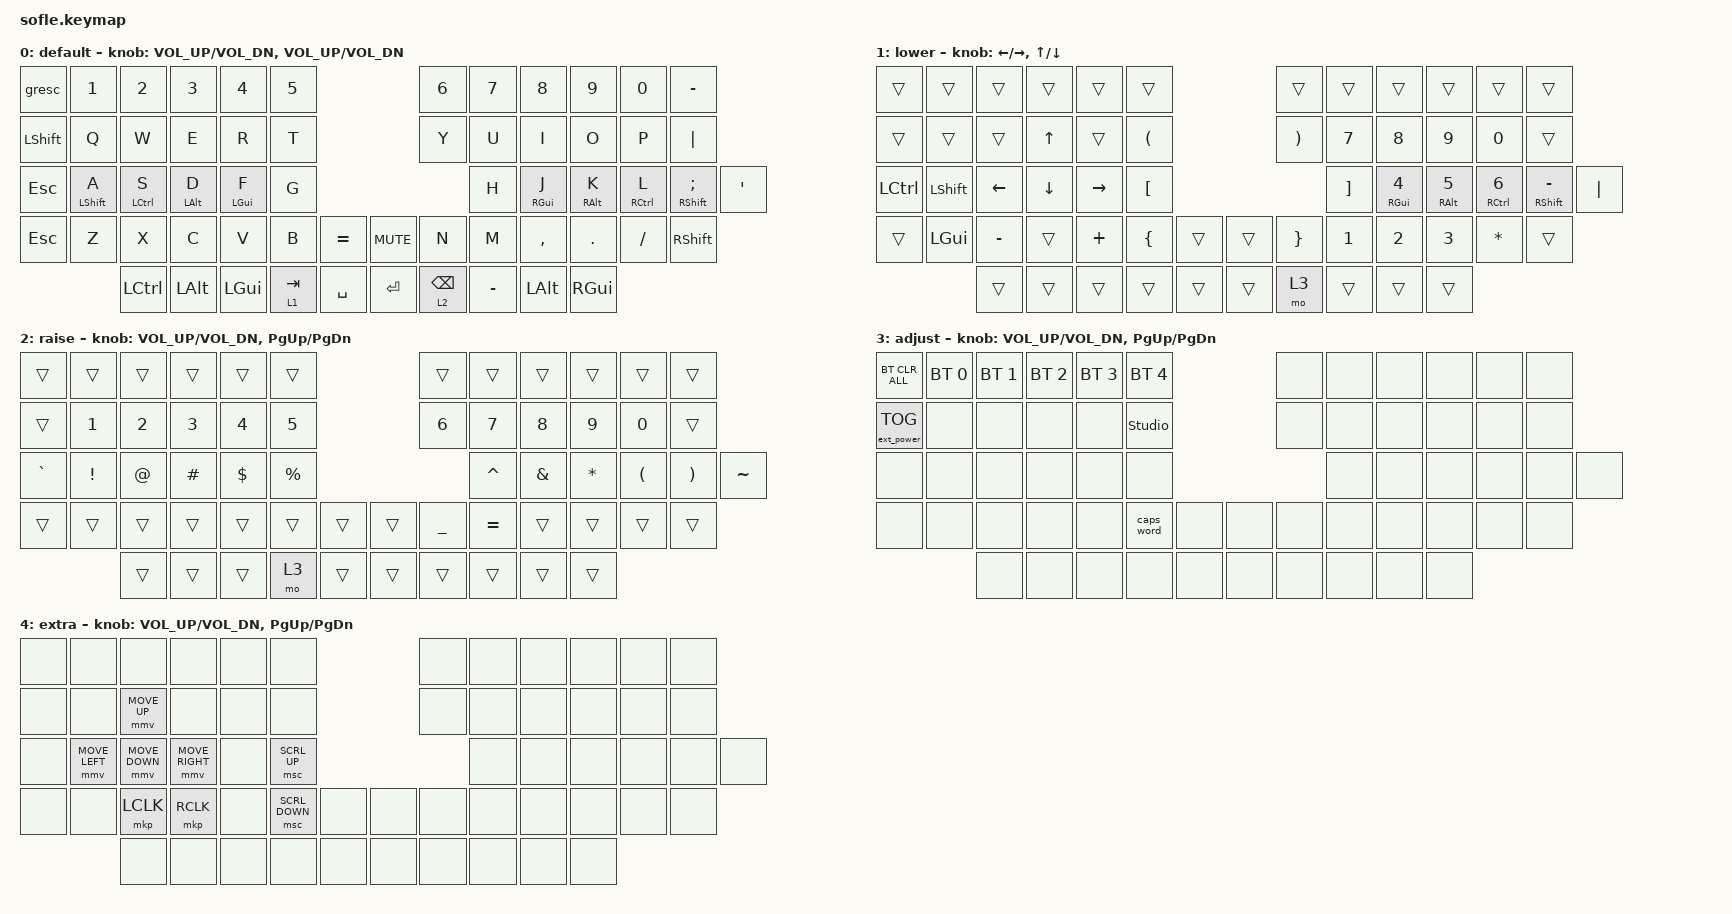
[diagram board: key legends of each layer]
/*
 * Copyright (c) 2020 The ZMK Contributors
 *
 * SPDX-License-Identifier: MIT
 */

#include <behaviors.dtsi>
#include <dt-bindings/zmk/bt.h>
#include <dt-bindings/zmk/ext_power.h>
#include <dt-bindings/zmk/keys.h>
#include <dt-bindings/zmk/pointing.h>

/*
// Encoders

&sensors { triggers-per-rotation = <30>; };

&left_encoder { steps = <60>; };

&right_encoder { steps = <60>; };
*/

#define BASE 0
#define LOWER 1
#define RAISE 2
#define ADJUST 3
#define EXTRA 4

/ {
    behaviors {
        hml: homerow_mods_left {
            compatible = "zmk,behavior-hold-tap";
            #binding-cells = <2>;
            tapping-term-ms = <220>;
            quick-tap-ms = <175>;
            require-prior-idle-ms = <80>;
            flavor = "balanced";
            bindings = <&kp>, <&kp>;
            hold-trigger-key-positions = <6 7 8 9 10 11 18 19 20 21 22 23 30 31 32 33 34 35 43 44 45 46 47 48 49 55 56 57 58 59>;
            hold-trigger-on-release;
        };

        hmr: homerow_mods_right {
            compatible = "zmk,behavior-hold-tap";
            #binding-cells = <2>;
            tapping-term-ms = <220>;
            quick-tap-ms = <175>;
            require-prior-idle-ms = <80>;
            flavor = "balanced";
            bindings = <&kp>, <&kp>;
            hold-trigger-key-positions = <0 1 2 3 4 5 12 13 14 15 16 17 24 25 26 27 28 29 36 37 38 39 40 41 42 50 51 52 53 54>;
            hold-trigger-on-release;
        };
    };

    combos {
        compatible = "zmk,combos";

        backspace {
            bindings = <&kp BACKSPACE>;
            key-positions = <32 31>;
        };

        delete {
            bindings = <&kp DELETE>;
            key-positions = <27 33>;
        };

        esc {
            bindings = <&kp ESCAPE>;
            key-positions = <25 41>;
        };
    };

    keymap {
        compatible = "zmk,keymap";

        // swap C_MUTE & EQUAL for encoder on the right

        default_layer {
            display-name = "default";

            // ------------------------------------------------------------------------------------------------------------
            // |   `   |  1  |  2  |  3   |  4   |  5   |                   |  6   |  7    |  8    |  9   |   0   |       |
            // |  ESC  |  Q  |  W  |  E   |  R   |  T   |                   |  Y   |  U    |  I    |  O   |   P   | BKSPC |
            // |  TAB  |  A  |  S  |  D   |  F   |  G   |                   |  H   |  J    |  K    |  L   |   ;   |   '   |
            // | SHIFT |  Z  |  X  |  C   |  V   |  B   |  MUTE  |  |       |  N   |  M    |  ,    |  .   |   /   | SHIFT |
            //               | GUI | ALT  | CTRL | LOWER|  ENTER |  | SPACE | RAISE| CTRL  | ALT   | GUI  |

            bindings = <
&gresc          &kp N1       &kp N2       &kp N3      &kp N4      &kp N5                              &kp N6           &kp N7      &kp N8      &kp N9       &kp N0          &kp MINUS
&kp LEFT_SHIFT  &kp Q        &kp W        &kp E       &kp R       &kp T                               &kp Y            &kp U       &kp I       &kp O        &kp P           &kp PIPE
&kp ESCAPE      &hml LSHFT A  &hml LCTRL S  &hml LALT D  &hml LGUI F  &kp G                               &kp H            &hmr RGUI J  &hmr RALT K  &hmr RCTRL L  &hmr RSHFT SEMI  &kp SQT
&kp ESCAPE      &kp Z        &kp X        &kp C       &kp V       &kp B      &kp EQUAL    &kp C_MUTE  &kp N            &kp M       &kp COMMA   &kp DOT      &kp FSLH        &kp RSHFT
                             &kp LCTRL    &kp LALT    &kp LGUI    &lt 1 TAB  &kp SPACE    &kp ENTER   &lt 2 BACKSPACE  &kp MINUS   &kp LALT    &kp RGUI
            >;

            sensor-bindings = <&inc_dec_kp C_VOL_UP C_VOL_DN &inc_dec_kp C_VOL_UP C_VOL_DN>;
        };

        lower_layer {
            display-name = "lower";

            // TODO: Some binds are waiting for shifted keycode support.
            // ------------------------------------------------------------------------------------------------------------
            // |       |  F1 |  F2 |  F3  |  F4  |  F5  |                   |  F6  |  F7   |  F8   |  F9  |  F10  |  F11  |
            // |   `   |  1  |  2  |  3   |  4   |  5   |                   |  6   |  7    |  8    |  9   |   0   |  F12  |
            // |       |  !  |  @  |  #   |  $   |  %   |                   |  ^   |  &    |  *    |  (   |   )   |   |   |
            // |       |  =  |  -  |  +   |  {   |  }   |        |  |       |  [   |  ]    |  ;    |  :   |   \   |       |
            //               |     |      |      |      |        |  |       |      |       |       |      |

            bindings = <
&trans            &trans        &trans     &trans    &trans     &trans                                  &trans                 &trans       &trans       &trans        &trans           &trans
&trans            &trans        &trans     &kp UP    &trans     &kp LEFT_PARENTHESIS                    &kp RIGHT_PARENTHESIS  &kp N7       &kp N8       &kp N9        &kp N0           &trans
&kp LEFT_CONTROL  &kp LSHFT     &kp LEFT   &kp DOWN  &kp RIGHT  &kp LBKT                                &kp RBKT               &hmr RGUI N4  &hmr RALT N5  &hmr RCTRL N6  &hmr RSHFT MINUS  &kp PIPE
&trans            &kp LEFT_GUI  &kp MINUS  &trans    &kp PLUS   &kp LEFT_BRACE        &trans    &trans  &kp RIGHT_BRACE        &kp N1       &kp N2       &kp N3        &kp STAR         &trans
                                &trans     &trans    &trans     &trans                &trans    &trans  &mo 3                  &trans       &trans       &trans
            >;

            sensor-bindings =
                <&inc_dec_kp LEFT_ARROW RIGHT_ARROW>,
                <&inc_dec_kp UP_ARROW DOWN_ARROW>;
        };

        raise_layer {
            display-name = "raise";

            // ------------------------------------------------------------------------------------------------------------
            // | BTCLR | BT1  | BT2  |  BT3  |  BT4  |  BT5 |                |      |      |       |      |       |       |
            // |       | INS  | PSCR | GUI   |       |      |                | PGUP |      |   ^   |      |       |       |
            // |       | ALT  | CTRL | SHIFT |       | CAPS |                | PGDN |   <- |   v   |  ->  |  DEL  | BKSPC |
            // |       | UNDO | CUT  | COPY  | PASTE |      |      |  |      |      |      |       |      |       |       |
            //                |      |       |       |      |      |  |      |      |      |       |      |

            bindings = <
&trans     &trans    &trans  &trans    &trans      &trans                         &trans     &trans     &trans    &trans                &trans                 &trans
&trans     &kp N1    &kp N2  &kp N3    &kp N4      &kp N5                         &kp N6     &kp N7     &kp N8    &kp N9                &kp N0                 &trans
&kp GRAVE  &kp EXCL  &kp AT  &kp HASH  &kp DOLLAR  &kp PERCENT                    &kp CARET  &kp AMPS   &kp STAR  &kp LEFT_PARENTHESIS  &kp RIGHT_PARENTHESIS  &kp TILDE
&trans     &trans    &trans  &trans    &trans      &trans       &trans    &trans  &kp UNDER  &kp EQUAL  &trans    &trans                &trans                 &trans
                     &trans  &trans    &trans      &mo 3        &trans    &trans  &trans     &trans     &trans    &trans
            >;

            sensor-bindings = <&inc_dec_kp C_VOL_UP C_VOL_DN &inc_dec_kp PG_UP PG_DN>;
        };

        adjust_layer {
            // ----------------------------------------------------------------------------------------------------------------------------
            // | BTCLR  |  BT1    |  BT2    |   BT3   |   BT4   |   BT5   |                  |      |      |       |      |       |       |
            // | EXTPWR | RGB_HUD | RGB_HUI | RGB_SAD | RGB_SAI | RGB_EFF |                  |      |      |       |      |       |       |
            // |        | RGB_BRD | RGB_BRI |         |         |         |                  |      |      |       |      |       |       |
            // |        |         |         |         |         |         | RGB_TOG | |      |      |      |       |      |       |       |
            //                    |         |         |         |         |         | |      |      |      |       |      |

            display-name = "adjust";
            bindings = <
&bt BT_CLR_ALL     &bt BT_SEL 0  &bt BT_SEL 1  &bt BT_SEL 2  &bt BT_SEL 3  &bt BT_SEL 4                    &none  &none  &none  &none  &none  &none
&ext_power EP_TOG  &none         &none         &none         &none         &studio_unlock                  &none  &none  &none  &none  &none  &none
&none              &none         &none         &none         &none         &none                           &none  &none  &none  &none  &none  &none
&none              &none         &none         &none         &none         &caps_word      &none    &none  &none  &none  &none  &none  &none  &none
                                 &none         &none         &none         &none           &none    &none  &none  &none  &none  &none
            >;

            sensor-bindings = <&inc_dec_kp C_VOL_UP C_VOL_DN &inc_dec_kp PG_UP PG_DN>;
        };

        extra_layer {
            // ----------------------------------------------------------------------------------------------------------------------------
            // | BTCLR  |  BT1    |  BT2    |   BT3   |   BT4   |   BT5   |                  |      |      |       |      |       |       |
            // | EXTPWR | RGB_HUD | RGB_HUI | RGB_SAD | RGB_SAI | RGB_EFF |                  |      |      |       |      |       |       |
            // |        | RGB_BRD | RGB_BRI |         |         |         |                  |      |      |       |      |       |       |
            // |        |         |         |         |         |         | RGB_TOG | |      |      |      |       |      |       |       |
            //                    |         |         |         |         |         | |      |      |      |       |      |

            display-name = "extra";
            bindings = <
&none  &none           &none           &none            &none  &none                           &none  &none  &none  &none  &none  &none
&none  &none           &mmv MOVE_UP    &none            &none  &none                           &none  &none  &none  &none  &none  &none
&none  &mmv MOVE_LEFT  &mmv MOVE_DOWN  &mmv MOVE_RIGHT  &none  &msc SCRL_UP                    &none  &none  &none  &none  &none  &none
&none  &none           &mkp LCLK       &mkp RCLK        &none  &msc SCRL_DOWN  &none    &none  &none  &none  &none  &none  &none  &none
                       &none           &none            &none  &none           &none    &none  &none  &none  &none  &none
            >;

            sensor-bindings = <&inc_dec_kp C_VOL_UP C_VOL_DN &inc_dec_kp PG_UP PG_DN>;
        };
    };
};
